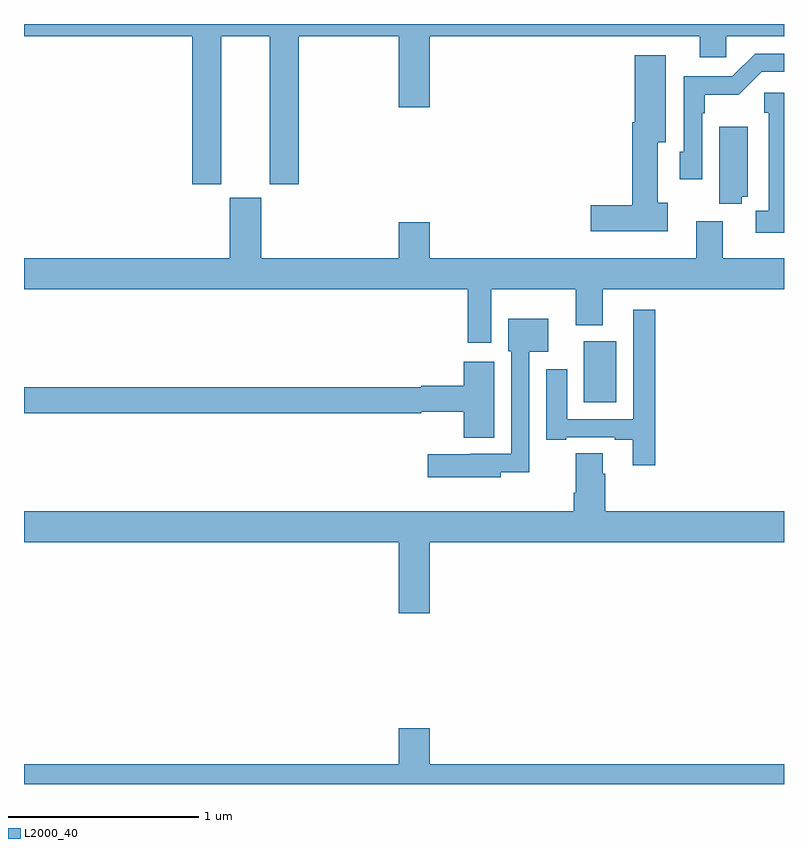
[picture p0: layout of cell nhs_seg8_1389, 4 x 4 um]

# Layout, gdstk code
import gdstk
lib = gdstk.Library(unit=1e-6, precision=1e-09)
def R(c, l, rs):  # rectangles x0, y0, x1, y1
    for r in rs: c.add(gdstk.rectangle(r[:2], r[2:], *l))
def P(c, l, *ps):  # polygons
    for p in ps: c.add(gdstk.Polygon(p, *l))
L2000_40 = (2000, 40)

nhs_seg8_1389 = lib.new_cell('nhs_seg8_1389')
R(nhs_seg8_1389, L2000_40, [(201.947,1111.91,202.117,1112.23)])
P(nhs_seg8_1389, L2000_40, [(200.038,1113.836),(200.294,1113.836),(200.294,1113.057),(200.447,1113.057),(200.447,1113.836),(200.972,1113.836),(200.972,1113.462),(201.136,1113.462),(201.136,1113.836),(202.556,1113.836),(202.556,1113.726),(202.695,1113.726),(202.695,1113.836),(203,1113.836),(203,1113.9),(199,1113.9),(199,1113.836),(199.886,1113.836),(199.886,1113.057),(200.038,1113.057)],
  [(202.569,1113.431),(202.582,1113.431),(202.582,1113.527),(202.763,1113.527),(202.884,1113.648),(203,1113.648),(203,1113.744),(202.848,1113.744),(202.728,1113.624),(202.473,1113.624),(202.473,1113.228),(202.452,1113.228),(202.452,1113.084),(202.569,1113.084)],
  [(202.387,1112.958),(202.336,1112.958),(202.336,1113.278),(202.378,1113.278),(202.378,1113.736),(202.214,1113.736),(202.214,1113.382),(202.202,1113.382),(202.202,1112.945),(201.984,1112.945),(201.984,1112.81),(202.387,1112.81)],
  [(203,1113.538),(202.897,1113.538),(202.897,1113.432),(202.919,1113.432),(202.919,1112.916),(202.851,1112.916),(202.851,1112.801),(203,1112.801)],
  [(202.778,1112.99),(202.81,1112.99),(202.81,1113.358),(202.658,1113.358),(202.658,1112.953),(202.778,1112.953)],
  [(201.136,1112.857),(200.972,1112.857),(200.972,1112.668),(200.248,1112.668),(200.248,1112.985),(200.084,1112.985),(200.084,1112.668),(199,1112.668),(199,1112.504),(201.335,1112.504),(201.335,1112.223),(201.46,1112.223),(201.46,1112.504),(201.905,1112.504),(201.905,1112.315),(202.045,1112.315),(202.045,1112.504),(203,1112.504),(203,1112.668),(202.678,1112.668),(202.678,1112.863),(202.538,1112.863),(202.538,1112.668),(201.136,1112.668)],
  [(202.322,1112.395),(202.206,1112.395),(202.206,1111.821),(201.859,1111.821),(201.859,1112.083),(201.749,1112.083),(201.749,1111.713),(201.853,1111.713),(201.853,1111.725),(202.109,1111.725),(202.109,1111.713),(202.205,1111.713),(202.205,1111.578),(202.322,1111.578)],
  [(201.51,1111.541),(201.66,1111.541),(201.66,1112.174),(201.76,1112.174),(201.76,1112.35),(201.548,1112.35),(201.548,1112.178),(201.564,1112.178),(201.564,1111.638),(201.348,1111.638),(201.348,1111.636),(201.126,1111.636),(201.126,1111.514),(201.51,1111.514)],
  [(201.475,1112.122),(201.314,1112.122),(201.314,1111.996),(201.09,1111.996),(201.09,1111.988),(199,1111.988),(199,1111.852),(201.09,1111.852),(201.09,1111.859),(201.314,1111.859),(201.314,1111.723),(201.475,1111.723)],
  [(201.136,1111.172),(203,1111.172),(203,1111.336),(202.058,1111.336),(202.058,1111.532),(202.045,1111.532),(202.045,1111.64),(201.905,1111.64),(201.905,1111.432),(201.893,1111.432),(201.893,1111.336),(199,1111.336),(199,1111.172),(200.972,1111.172),(200.972,1110.798),(201.136,1110.798)],
  [(203,1110.004),(201.136,1110.004),(201.136,1110.193),(200.972,1110.193),(200.972,1110.004),(199,1110.004),(199,1109.9),(203,1109.9)])

lib.write_gds('nhs_seg8_1389.gds')
